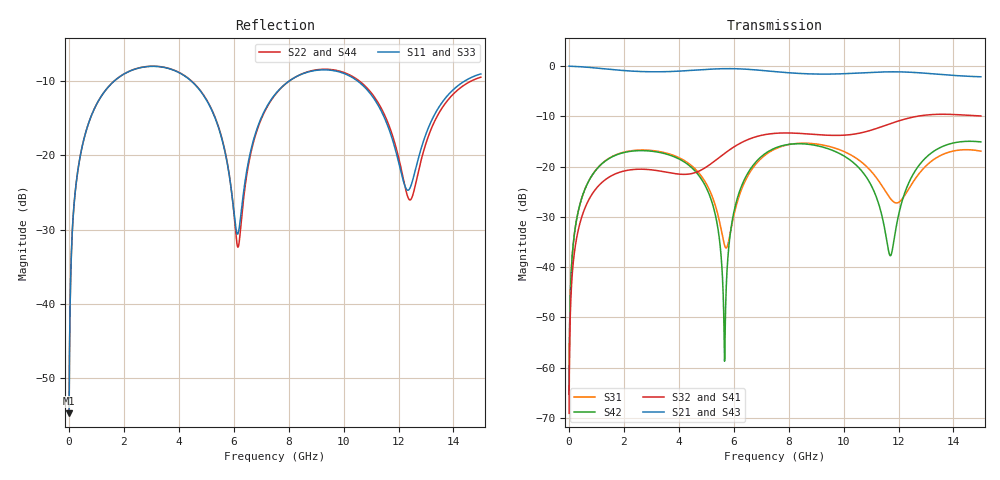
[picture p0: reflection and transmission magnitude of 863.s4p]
! Created with skrf 1.8.0 (http://scikit-rf.org).
# GHz S RI R 50.0
!freq ReS11 ImS11 ReS12 ImS12 ReS13 ImS13
! ReS14 ImS14
! ReS21 ImS21 ReS22 ImS22 ReS23 ImS23
! ReS24 ImS24
! ReS31 ImS31 ReS32 ImS32 ReS33 ImS33
! ReS34 ImS34
! ReS41 ImS41 ReS42 ImS42 ReS43 ImS43
! ReS44 ImS44
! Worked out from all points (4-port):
!   2499 points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, 5 MHz to 15 GHz, reference 50 ohm
!   strongest paths, dB at 5 MHz, 3.476 GHz, 7.19 GHz, 11.1 GHz, 15 GHz:
!     S21: 0.0, -1.1, -0.9, -1.2, -2.1
!     S43: 0.0, -1.1, -0.9, -1.2, -2.1
!     S32: -69.1, -21.0, -13.6, -12.6, -9.9
!     S41: -69.1, -21.0, -13.6, -12.6, -9.9
!     S42: -65.3, -17.4, -17.2, -24.8, -15.1
!     S31: -65.3, -17.2, -17.5, -21.5, -16.9
!   lowest |S11| = -54.7 dB at 5 MHz (marker M1), VSWR 1.00, Z = 50.1 + j0.112 ohm
!   |S11| at or under -10 dB: start of sweep to 1.646 GHz; 4.454 GHz to 8.015 GHz (3.561 GHz wide, 57.1 % of centre); 10.51 GHz to 14.41 GHz (3.893 GHz wide, 31.2 % of centre)
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0.005  0.00146 0.00112  0.9985 -0.00285  7.15e-05 0.000538  -6.97e-05 -0.000343
       0.9985 -0.00285  0.00146 0.00112  -6.97e-05 -0.000343  7.14e-05 0.000538
       7.15e-05 0.000538  -6.97e-05 -0.000343  0.00146 0.00112  0.9985 -0.00285
       -6.97e-05 -0.000343  7.14e-05 0.000538  0.9985 -0.00285  0.00146 0.00112
1.619545  0.2493 0.1892  0.5954 -0.703  0.1129 0.0599  -0.0819 -0.0135
          0.5954 -0.703  0.2502 0.1887  -0.0819 -0.0135  0.1101 0.0633
          0.1129 0.0599  -0.0819 -0.0135  0.2493 0.1893  0.5953 -0.703
          -0.0819 -0.0135  0.1101 0.0633  0.5953 -0.703  0.2502 0.1887
5.66486  0.053 -0.0951  -0.8936 -0.3006  -0.0151 -0.00674  -0.0388 0.1294
         -0.8936 -0.3006  0.0484 -0.0993  -0.0389 0.1294  0.00115 -7.16e-05
         -0.0151 -0.00674  -0.0389 0.1294  0.0529 -0.0966  -0.8934 -0.3008
         -0.0388 0.1294  0.00115 -7.16e-05  -0.8934 -0.3008  0.0494 -0.1005
6.665277  0.0634 0.0976  -0.9005 0.2024  0.0431 0.084  0.0572 0.1836
          -0.9005 0.2024  0.0574 0.0964  0.0572 0.1837  0.0548 0.0832
          0.0431 0.084  0.0572 0.1837  0.0622 0.0961  -0.9007 0.2022
          0.0572 0.1836  0.0548 0.0832  -0.9007 0.2022  0.0578 0.0945
9.835348  0.3565 -0.0775  0.1296 0.8268  0.1003 -0.1085  0.1864 -0.0835
          0.1296 0.8268  0.3606 -0.0818  0.1865 -0.0837  0.104 -0.0871
          0.1003 -0.1085  0.1865 -0.0837  0.3547 -0.0765  0.1309 0.8273
          0.1864 -0.0835  0.104 -0.0871  0.1309 0.8273  0.3584 -0.0833
11.70488  0.0944 -0.1048  0.7793 0.403  -0.0445 -0.0182  0.1169 -0.2407
          0.7793 0.403  0.0915 -0.1186  0.1167 -0.2407  -0.0129 0.000804
          -0.0445 -0.0182  0.1167 -0.2407  0.0938 -0.1024  0.7808 0.4008
          0.1169 -0.2407  -0.0129 0.000804  0.7808 0.4008  0.0892 -0.1172
15  0.3438 0.0821  0.2977 -0.7239  0.1248 -0.0684  -0.3103 -0.0749
    0.2977 -0.7239  0.3252 0.0837  -0.3101 -0.0752  0.1418 -0.1043
    0.1248 -0.0684  -0.3101 -0.0752  0.345 0.0807  0.2944 -0.7248
    -0.3103 -0.0749  0.1418 -0.1043  0.2944 -0.7248  0.326 0.0833
